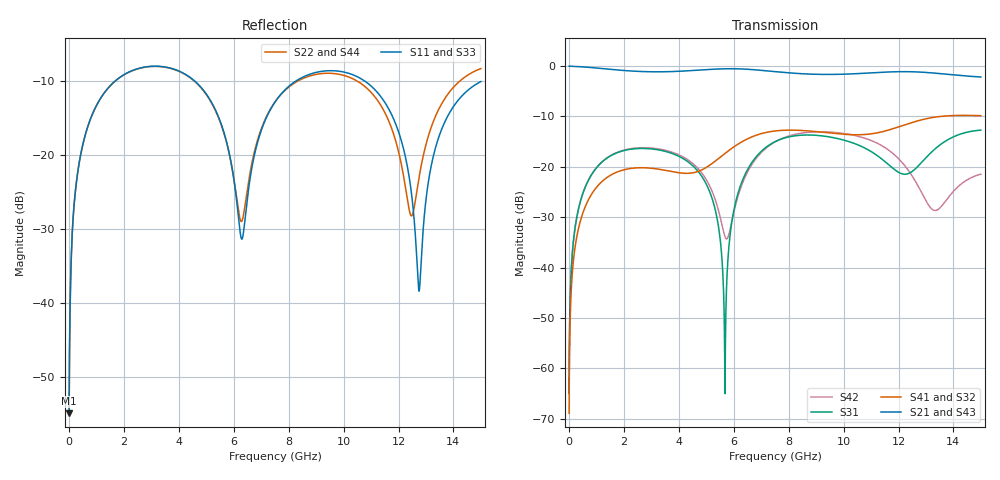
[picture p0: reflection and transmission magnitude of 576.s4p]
! Created with skrf 1.8.0 (http://scikit-rf.org).
# GHz S RI R 50.0
!freq ReS11 ImS11 ReS12 ImS12 ReS13 ImS13
! ReS14 ImS14
! ReS21 ImS21 ReS22 ImS22 ReS23 ImS23
! ReS24 ImS24
! ReS31 ImS31 ReS32 ImS32 ReS33 ImS33
! ReS34 ImS34
! ReS41 ImS41 ReS42 ImS42 ReS43 ImS43
! ReS44 ImS44
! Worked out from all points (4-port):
!   2499 points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, 5 MHz to 15 GHz, reference 50 ohm
!   strongest paths, dB at 5 MHz, 3.476 GHz, 7.19 GHz, 11.1 GHz, 15 GHz:
!     S21: 0.0, -1.1, -0.9, -1.3, -2.2
!     S43: 0.0, -1.1, -0.9, -1.3, -2.1
!     S41: -68.9, -20.7, -13.2, -13.4, -9.8
!     S32: -68.9, -20.7, -13.2, -13.4, -9.9
!     S31: -65.0, -16.9, -16.1, -17.3, -12.7
!     S42: -65.0, -16.7, -16.2, -15.0, -21.5
!   lowest |S11| = -54.9 dB at 5 MHz (marker M1), VSWR 1.00, Z = 50.1 + j0.109 ohm
!   |S11| at or under -10 dB: start of sweep to 1.702 GHz; 4.558 GHz to 8.292 GHz (3.734 GHz wide, 58.1 % of centre); 10.74 GHz to end of sweep
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0.005  0.00143 0.00109  0.9985 -0.00278  7.08e-05 0.000558  -6.89e-05 -0.000351
       0.9985 -0.00278  0.00143 0.00109  -6.89e-05 -0.000351  7.08e-05 0.000558
       7.08e-05 0.000558  -6.89e-05 -0.000351  0.00143 0.00109  0.9985 -0.00278
       -6.89e-05 -0.000351  7.08e-05 0.000558  0.9985 -0.00278  0.00143 0.00109
0.3626511  0.0238 0.0826  0.9673 -0.2002  0.0108 0.0384  -0.00914 -0.0238
           0.9673 -0.2002  0.0238 0.0826  -0.00914 -0.0238  0.0111 0.0383
           0.0108 0.0384  -0.00914 -0.0238  0.0238 0.0826  0.9673 -0.2003
           -0.00914 -0.0238  0.0111 0.0383  0.9673 -0.2003  0.0238 0.0826
1.725719  0.2611 0.1831  0.5709 -0.718  0.1204 0.0655  -0.0877 -0.00969
          0.5709 -0.718  0.2598 0.1839  -0.0876 -0.00974  0.1242 0.0606
          0.1204 0.0655  -0.0876 -0.00974  0.2612 0.1831  0.5708 -0.718
          -0.0877 -0.00969  0.1242 0.0606  0.5708 -0.718  0.2599 0.1839
5.683618  0.0614 -0.1182  -0.8712 -0.3547  -0.000543 0.000137  -0.0467 0.1277
          -0.8712 -0.3547  0.0681 -0.1124  -0.0475 0.1274  -0.0181 -0.00904
          -0.000543 0.000137  -0.0475 0.1274  0.0626 -0.1198  -0.8708 -0.355
          -0.0467 0.1277  -0.0181 -0.00904  -0.8708 -0.355  0.0684 -0.1143
7.221759  0.1181 0.1401  -0.818 0.3667  0.1073 0.1184  0.1213 0.1844
          -0.818 0.3667  0.1255 0.1366  0.1201 0.1848  0.1079 0.114
          0.1073 0.1184  0.1201 0.1848  0.1181 0.1374  -0.8186 0.3666
          0.1213 0.1844  0.1079 0.114  -0.8186 0.3666  0.1233 0.1345
12.74906  0.012 4.71e-05  0.8701 0.0757  0.1039 0.00555  0.0151 -0.2883
          0.8701 0.0757  0.0428 0.0556  0.0189 -0.288  -0.0594 -0.0172
          0.1039 0.00555  0.0189 -0.288  0.0136 -0.000176  0.8703 0.0729
          0.0151 -0.2883  -0.0594 -0.0172  0.8703 0.0729  0.0415 0.0556
15  0.2711 0.1533  0.4142 -0.6603  0.1849 -0.1389  -0.2922 -0.1354
    0.4142 -0.6603  0.3575 0.1313  -0.2889 -0.1393  0.0821 -0.0201
    0.1849 -0.1389  -0.2889 -0.1393  0.2723 0.1446  0.4118 -0.6635
    -0.2922 -0.1354  0.0821 -0.0201  0.4118 -0.6635  0.3517 0.1331
